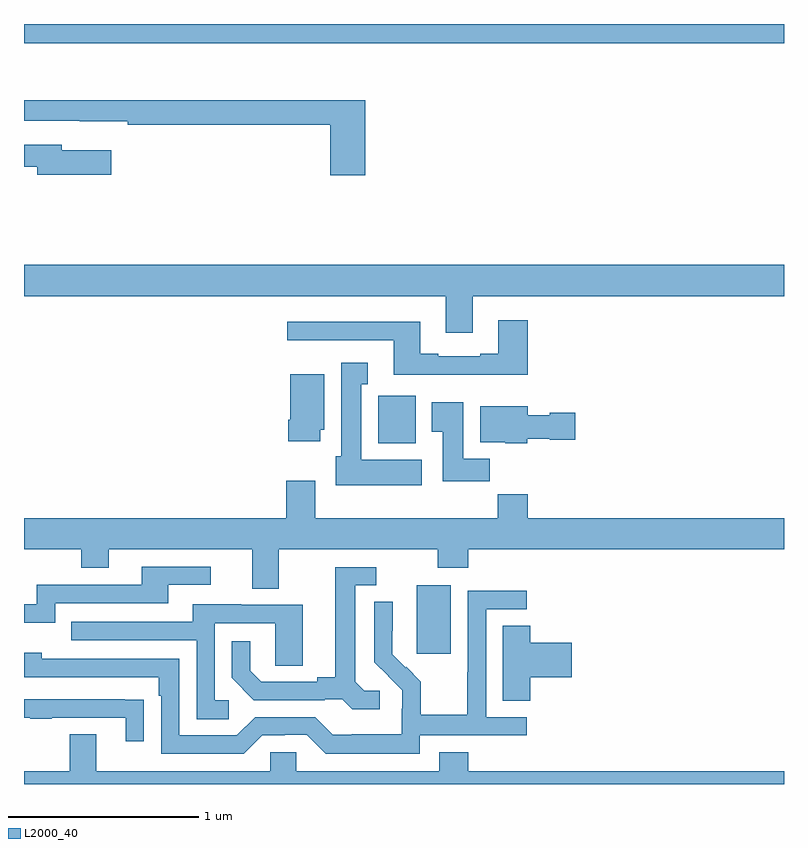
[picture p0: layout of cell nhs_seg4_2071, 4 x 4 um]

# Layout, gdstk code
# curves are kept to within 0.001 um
import gdstk
lib = gdstk.Library(unit=1e-6, precision=1e-09)
def R(c, l, rs):  # rectangles x0, y0, x1, y1
    for r in rs: c.add(gdstk.rectangle(r[:2], r[2:], *l))
def P(c, l, *ps):  # polygons
    for p in ps: c.add(gdstk.Polygon(p, *l))
L2000_40 = (2000, 40)

nhs_seg4_2071 = lib.new_cell('nhs_seg4_2071')
R(nhs_seg4_2071, L2000_40, [(219.068,813.585,219.247,813.946), (218.865,814.694,219.061,814.944), (217,816.8,221,816.9)])
P(nhs_seg4_2071, L2000_40, [(218.795,816.499),(217,816.499),(217,816.39),(217.294,816.39),(217.294,816.389),(217.546,816.389),(217.546,816.37),(218.612,816.37),(218.612,816.105),(218.795,816.105)],
  [(217.459,816.235),(217.198,816.235),(217.198,816.264),(217,816.264),(217,816.148),(217.07,816.148),(217.07,816.106),(217.459,816.106)],
  [(219.361,815.468),(221,815.468),(221,815.632),(217,815.632),(217,815.468),(219.221,815.468),(219.221,815.274),(219.361,815.274)],
  [(219.65,815.341),(219.497,815.341),(219.497,815.164),(219.401,815.164),(219.401,815.151),(219.181,815.151),(219.181,815.164),(219.085,815.164),(219.085,815.332),(218.385,815.332),(218.385,815.235),(218.945,815.235),(218.945,815.054),(219.65,815.054)],
  [(219.094,814.606),(218.776,814.606),(218.776,815.003),(218.809,815.003),(218.809,815.116),(218.669,815.116),(218.669,814.626),(218.642,814.626),(218.642,814.472),(219.094,814.472)],
  [(218.56,814.764),(218.581,814.764),(218.581,815.056),(218.402,815.056),(218.402,814.816),(218.39,814.816),(218.39,814.704),(218.56,814.704)],
  [(219.452,814.612),(219.313,814.612),(219.313,814.909),(219.146,814.909),(219.146,814.753),(219.203,814.753),(219.203,814.494),(219.452,814.494)],
  [(219.648,814.718),(219.768,814.718),(219.768,814.711),(219.901,814.711),(219.901,814.853),(219.768,814.853),(219.768,814.84),(219.652,814.84),(219.652,814.888),(219.401,814.888),(219.401,814.7),(219.534,814.7),(219.534,814.694),(219.648,814.694)],
  [(218.341,814.136),(219.178,814.136),(219.178,814.037),(219.338,814.037),(219.338,814.136),(221,814.136),(221,814.3),(219.65,814.3),(219.65,814.424),(219.493,814.424),(219.493,814.3),(218.533,814.3),(218.533,814.495),(218.381,814.495),(218.381,814.3),(217,814.3),(217,814.136),(217.3,814.136),(217.3,814.037),(217.447,814.037),(217.447,814.136),(218.201,814.136),(218.201,813.928),(218.341,813.928)],
  [(217.164,813.852),(217.759,813.852),(217.759,813.948),(217.984,813.948),(217.984,814.044),(217.619,814.044),(217.619,813.948),(217.068,813.948),(217.068,813.846),(217,813.846),(217,813.749),(217.164,813.749)],
  [(218.872,813.39),(218.79,813.39),(218.743,813.437),(218.743,813.945),(218.854,813.945),(218.854,814.041),(218.639,814.041),(218.639,813.461),(218.543,813.461),(218.543,813.438),(218.248,813.438),(218.191,813.495),(218.191,813.652),(218.094,813.652),(218.094,813.458),(218.21,813.342),(218.582,813.342),(218.582,813.345),(218.676,813.345),(218.728,813.293),(218.872,813.293)],
  [(219.084,813.156),(219.646,813.156),(219.646,813.252),(219.432,813.252),(219.432,813.819),(219.646,813.819),(219.646,813.918),(219.336,813.918),(219.336,813.488),(219.334,813.488),(219.334,813.265),(219.089,813.265),(219.089,813.439),(219.012,813.516),(219.009,813.513),(218.939,813.584),(218.94,813.86),(218.844,813.86),(218.844,813.542),(218.99,813.394),(218.99,813.297),(218.988,813.297),(218.988,813.163),(218.725,813.163),(218.725,813.159),(218.625,813.159),(218.532,813.252),(218.217,813.252),(218.121,813.156),(217.818,813.156),(217.818,813.558),(217.094,813.558),(217.094,813.592),(217,813.592),(217,813.462),(217.709,813.462),(217.709,813.365),(217.722,813.365),(217.722,813.06),(218.157,813.06),(218.253,813.156),(218.372,813.156),(218.372,813.159),(218.487,813.159),(218.587,813.059),(219.084,813.059)],
  [(218.077,813.342),(218.004,813.342),(218.004,813.747),(218.322,813.747),(218.322,813.523),(218.467,813.523),(218.467,813.843),(218.143,813.843),(218.143,813.847),(217.889,813.847),(217.889,813.753),(217.249,813.753),(217.249,813.657),(217.908,813.657),(217.908,813.241),(218.077,813.241)],
  [(219.665,813.461),(219.883,813.461),(219.883,813.644),(219.665,813.644),(219.665,813.734),(219.521,813.734),(219.521,813.337),(219.665,813.337)],
  [(217.631,813.344),(217.529,813.344),(217.529,813.345),(217,813.345),(217,813.249),(217.033,813.249),(217.033,813.244),(217.145,813.244),(217.145,813.249),(217.535,813.249),(217.535,813.126),(217.631,813.126)],
  [(221,812.968),(219.338,812.968),(219.338,813.067),(219.185,813.067),(219.185,812.968),(218.433,812.968),(218.433,813.066),(218.295,813.066),(218.295,812.968),(217.381,812.968),(217.381,813.163),(217.241,813.163),(217.241,812.968),(217,812.968),(217,812.9),(221,812.9)])

lib.write_gds('nhs_seg4_2071.gds')
